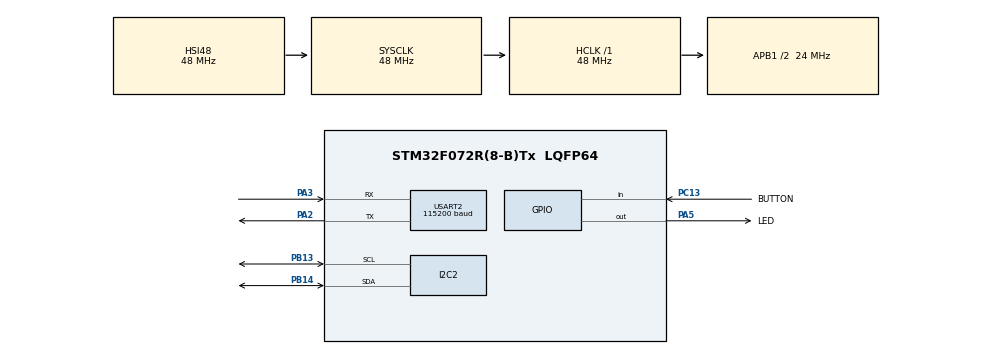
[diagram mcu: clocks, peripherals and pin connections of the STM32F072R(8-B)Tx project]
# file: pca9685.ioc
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I2C2.Timing=0x00506682
Mcu.Family=STM32F0
Mcu.Name=STM32F072R(8-B)Tx
Mcu.Package=LQFP64
NVIC.TIM17_IRQn=true\:0\:0\:false\:false\:true\:true\:true
PA2.Mode=Asynchronous
PA2.Signal=USART2_TX
PA3.Mode=Asynchronous
PA3.Signal=USART2_RX
PA5.GPIO_Label=LED
PA5.Signal=GPIO_Output
PB13.Mode=I2C
PB13.Signal=I2C2_SCL
PB14.Mode=I2C
PB14.Signal=I2C2_SDA
PC13.GPIO_Label=BUTTON
PC13.Signal=GPIO_Input
ProjectManager.HeapSize=0x200
ProjectManager.StackSize=0x400
ProjectManager.TargetToolchain=STM32CubeIDE
RCC.AHBFreq_Value=48000000
RCC.APB1CLKDivider=RCC_HCLK_DIV2
RCC.APB1Freq_Value=24000000
RCC.APB1TimFreq_Value=48000000
RCC.HCLKFreq_Value=48000000
RCC.SYSCLKFreq_VALUE=48000000
RCC.SYSCLKSource=RCC_SYSCLKSOURCE_HSI48
TIM17.Period=1
TIM17.Prescaler=24000
USART2.BaudRate=115200
USART2.VirtualMode-Asynchronous=VM_ASYNC
VP_TIM17_VS_ClockSourceINT.Mode=Enable_Timer
board=NUCLEO-F072RB

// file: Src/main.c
/* USER CODE BEGIN Header */
/**
  ******************************************************************************
  * @file           : main.c
  * @brief          : Main program body
  ******************************************************************************
  * @attention
  *
  * <h2><center>&copy; Copyright (c) 2019 STMicroelectronics.
  * All rights reserved.</center></h2>
  *
  * This software component is licensed by ST under BSD 3-Clause license,
  * the "License"; You may not use this file except in compliance with the
  * License. You may obtain a copy of the License at:
  *                        opensource.org/licenses/BSD-3-Clause
  *
  ******************************************************************************
  */
/* USER CODE END Header */

#include "main.h"
#include "i2c.h"
#include "tim.h"
#include "usart.h"
#include "gpio.h"

/* USER CODE BEGIN Includes */
#include "printf_override.h"
#include "pca9685.h"
#include "led_sequence.h"
/* USER CODE END Includes */

/* USER CODE BEGIN PV */
TIM_HandleTypeDef htim17;

UART_HandleTypeDef huart2;

const LEDColorTypedef* color_array[7] = {&RED, &ORANGE, &YELLOW, &GREEN, &BLUE, &VIOLET, &WHITE};
/* USER CODE END PV */

void SystemClock_Config(void);

int main(void)
{

  /* MCU Configuration--------------------------------------------------------*/

  /* Reset of all peripherals, Initializes the Flash interface and the Systick. */
  HAL_Init();

  /* Configure the system clock */
  SystemClock_Config();

  /* Initialize all configured peripherals */
  MX_GPIO_Init();
  MX_I2C2_Init();
  MX_TIM17_Init();
  MX_USART2_UART_Init();
  /* USER CODE BEGIN 2 */
  printf("Starting...\r\n");
  HAL_TIM_Base_Start_IT(&htim17);
  HAL_Delay(1000);
  pca_init();
  pca_display_SOC(0.99);
  HAL_Delay(1000);
  pca_display_SOC(0.99);
  HAL_Delay(6000);
  /* USER CODE END 2 */

  /* Infinite loop */
  /* USER CODE BEGIN WHILE */
  while (1)
  {
	  for(int j = 0; j < 7; j++) {
		  LEDColorTypedef* color;
		  color = (LEDColorTypedef*)color_array[j];

		  for(int i = 0; i<4; i++) {
			  pca_all_off();
			  pca_write_led(i, color);
			  pca_sleep();
			  //HAL_Delay(10);
			  pca_wake();
			  HAL_Delay(75);
		  }
		  for(int i = 4; i>0; i--) {
			  pca_all_off();
			  pca_write_led(i, color);
			  pca_sleep();
			  //HAL_Delay(10);
			  pca_wake();
			  HAL_Delay(75);
		  }
	  }
    /* USER CODE END WHILE */

  }
}

void SystemClock_Config(void)
{
  RCC_OscInitTypeDef RCC_OscInitStruct = {0};
  RCC_ClkInitTypeDef RCC_ClkInitStruct = {0};
  RCC_PeriphCLKInitTypeDef PeriphClkInit = {0};

  /** Initializes the CPU, AHB and APB busses clocks
  */
  RCC_OscInitStruct.OscillatorType = RCC_OSCILLATORTYPE_HSI48;
  RCC_OscInitStruct.HSI48State = RCC_HSI48_ON;
  RCC_OscInitStruct.PLL.PLLState = RCC_PLL_NONE;
  if (HAL_RCC_OscConfig(&RCC_OscInitStruct) != HAL_OK)
  {
    Error_Handler();
  }
  /** Initializes the CPU, AHB and APB busses clocks
  */
  RCC_ClkInitStruct.ClockType = RCC_CLOCKTYPE_HCLK|RCC_CLOCKTYPE_SYSCLK
                              |RCC_CLOCKTYPE_PCLK1;
  RCC_ClkInitStruct.SYSCLKSource = RCC_SYSCLKSOURCE_HSI48;
  RCC_ClkInitStruct.AHBCLKDivider = RCC_SYSCLK_DIV1;
  RCC_ClkInitStruct.APB1CLKDivider = RCC_HCLK_DIV2;

  if (HAL_RCC_ClockConfig(&RCC_ClkInitStruct, FLASH_LATENCY_1) != HAL_OK)
  {
    Error_Handler();
  }
  PeriphClkInit.PeriphClockSelection = RCC_PERIPHCLK_USART2;
  PeriphClkInit.Usart2ClockSelection = RCC_USART2CLKSOURCE_PCLK1;
  if (HAL_RCCEx_PeriphCLKConfig(&PeriphClkInit) != HAL_OK)
  {
    Error_Handler();
  }
}

/* USER CODE BEGIN 4 */
void HAL_TIM_PeriodElapsedCallback(TIM_HandleTypeDef *htim17) {
	if(pca_update() != HAL_OK) printf("TX Error\r\n");
}
/* USER CODE END 4 */

void Error_Handler(void)
{
}

/************************ (C) COPYRIGHT STMicroelectronics *****END OF FILE****/
